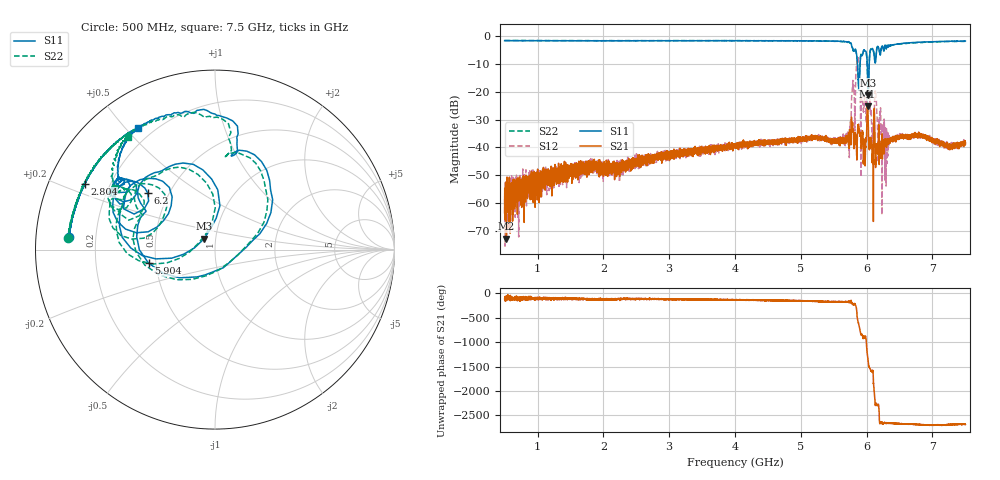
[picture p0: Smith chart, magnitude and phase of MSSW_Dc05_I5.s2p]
!Keysight Technologies,M9374A,MY55442783,A.12.55.05
!Date: Wednesday, May 19, 2021 19:24:48
!Correction: S11(Full 2 Port(1,2))
!S21(Full 2 Port(1,2))
!S12(Full 2 Port(1,2))
!S22(Full 2 Port(1,2))
!S2P File: Measurements: S11, S21, S12, S22:
# Hz S  RI  R 50
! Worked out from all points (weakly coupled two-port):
!   7001 points, 500 MHz to 7.5 GHz, reference 50 ohm
!   highest |S21| = -25.21 dB at 6.013 GHz (marker M1); lowest = -72.7 dB at 528 MHz (marker M2)
!   lowest |S11| = -21.4 dB at 6.024 GHz (marker M3), VSWR 1.19, Z = 44 + j5.36 ohm
!   |S11| at or under -10 dB: 5.86 GHz to 5.9 GHz (39.56 MHz wide, 0.673 % of centre); 6.009061 GHz to 6.039208 GHz (30.15 MHz wide, 0.5 % of centre)
!   |S22| runs from -20.6 to -1.7 dB; largest |S21 - S12| = 0.38
!   S11 on the Smith chart (normalised r, x): 500 MHz: 0.10, +0.04; 2.804 GHz: 0.11, +0.23; 5.904 GHz: 0.46, -0.08; 6.2 GHz: 0.38, +0.32; 7.5 GHz: 0.14, +0.54
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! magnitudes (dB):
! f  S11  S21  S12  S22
! 500 MHz  -1.8  -63.4  -59.6  -1.7
! 528 MHz  -1.8  -72.7  -55.4  -1.7
! 1.667 GHz  -1.8  -47.2  -46.4  -1.8
! 2.804 GHz  -1.8  -44.1  -43.0  -1.8
! 2.834 GHz  -1.8  -43.3  -44.1  -1.8
! 4 GHz  -1.8  -39.9  -39.3  -1.8
! 5.167 GHz  -1.9  -36.3  -36.7  -1.8
! 5.703 GHz  -2.2  -37.4  -35.1  -2.4
! 5.765 GHz  -2.9  -32.9  -28.2  -2.8
! 5.82 GHz  -5.1  -36.1  -31.1  -5.4
! 5.863 GHz  -11.1  -34.1  -8.2  -11.4
! 5.904 GHz  -8.5  -35.0  -24.3  -8.0
! 5.938 GHz  -6.7  -35.0  -23.2  -6.7
! 6.013 GHz  -12.9  -25.2  -14.6  -13.5
! 6.024 GHz  -21.4  -30.6  -12.8  -20.1
! 6.04 GHz  -9.5  -39.3  -16.2  -9.0
! 6.068 GHz  -4.9  -38.6  -27.2  -4.8
! 6.082 GHz  -4.6  -43.3  -38.3  -4.6
! 6.131 GHz  -9.8  -43.9  -19.7  -9.4
! 6.2 GHz  -6.2  -40.0  -27.7  -6.4
! 6.334 GHz  -3.4  -37.7  -36.2  -3.4
! 7.5 GHz  -1.9  -38.4  -38.1  -2.0
